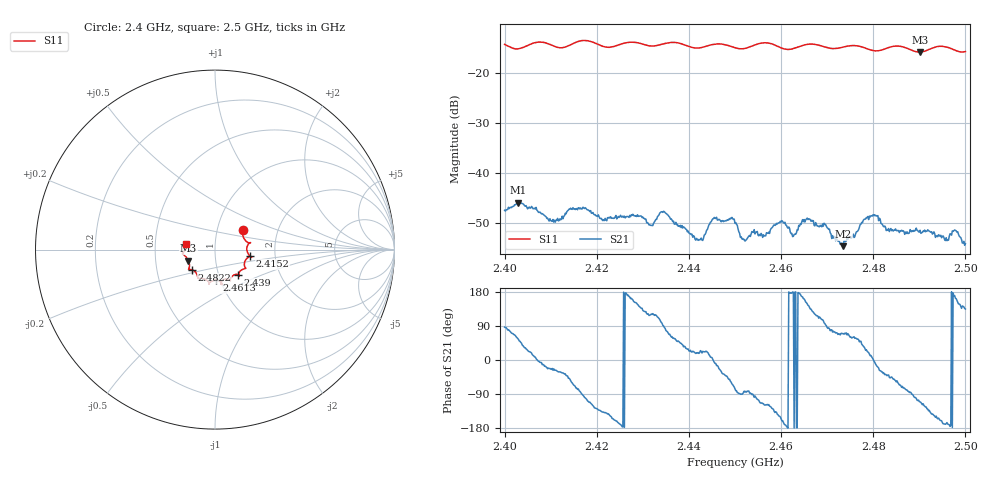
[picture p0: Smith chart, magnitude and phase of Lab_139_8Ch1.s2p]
# Hz S RI R 50
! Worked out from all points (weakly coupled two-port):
!   601 points, 2.4 GHz to 2.5 GHz, reference 50 ohm
!   highest |S21| = -45.92 dB at 2.4028 GHz (marker M1); lowest = -54.6 dB at 2.4735 GHz (marker M2)
!   lowest |S11| = -15.9 dB at 2.4902 GHz (marker M3), VSWR 1.38, Z = 36.8 - j4.63 ohm
!   |S11| at or under -10 dB: start of sweep to end of sweep
!   S12 and S22 are empty: the file has one direction only
!   S11 on the Smith chart (normalised r, x): 2.4 GHz: 1.33, +0.31; 2.4152 GHz: 1.48, -0.11; 2.439 GHz: 1.24, -0.36; 2.4613 GHz: 0.96, -0.34; 2.4822 GHz: 0.76, -0.17; 2.5 GHz: 0.72, +0.05
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2.4e9  0.1557 0.1113  0.000239 0.00423  0 0  0 0
2.402833e9  0.1602 0.0645  0.00275 0.00424  0 0  0 0
2.4105e9  0.1835 0.0272  0.00305 -0.00155  0 0  0 0
2.415167e9  0.1948 -0.0358  0.00167 -0.00405  0 0  0 0
2.416667e9  0.2044 -0.0418  0.000114 -0.00436  0 0  0 0
2.431667e9  0.1423 -0.1174  -0.00146 0.00261  0 0  0 0
2.433333e9  0.1332 -0.1324  -0.0014 0.00345  0 0  0 0
2.439e9  0.1285 -0.1396  0.0023 0.00169  0 0  0 0
2.4425e9  0.094 -0.1501  0.00196 0.000905  0 0  0 0
2.4455e9  0.0844 -0.1727  0.00357 -0.000394  0 0  0 0
2.45e9  0.0685 -0.1638  0.000745 -0.00305  0 0  0 0
2.452e9  0.0459 -0.1677  0.000297 -0.00214  0 0  0 0
2.461333e9  0.00771 -0.1703  -0.00287 -0.000122  0 0  0 0
2.462833e9  -0.0138 -0.1743  -0.00243 -1.66e-05  0 0  0 0
2.466667e9  -0.0331 -0.19  -0.00219 0.00256  0 0  0 0
2.4735e9  -0.0818 -0.1603  0.000645 0.00174  0 0  0 0
2.479e9  -0.1006 -0.1384  0.00322 0.00115  0 0  0 0
2.482167e9  -0.1281 -0.1123  0.00239 -0.00171  0 0  0 0
2.483333e9  -0.1393 -0.1106  0.00214 -0.00177  0 0  0 0
2.490167e9  -0.1484 -0.0613  -0.000939 -0.0025  0 0  0 0
2.497833e9  -0.1666 -0.00234  -0.00254 0.000781  0 0  0 0
2.5e9  -0.1588 0.0335  -0.00138 0.00141  0 0  0 0
